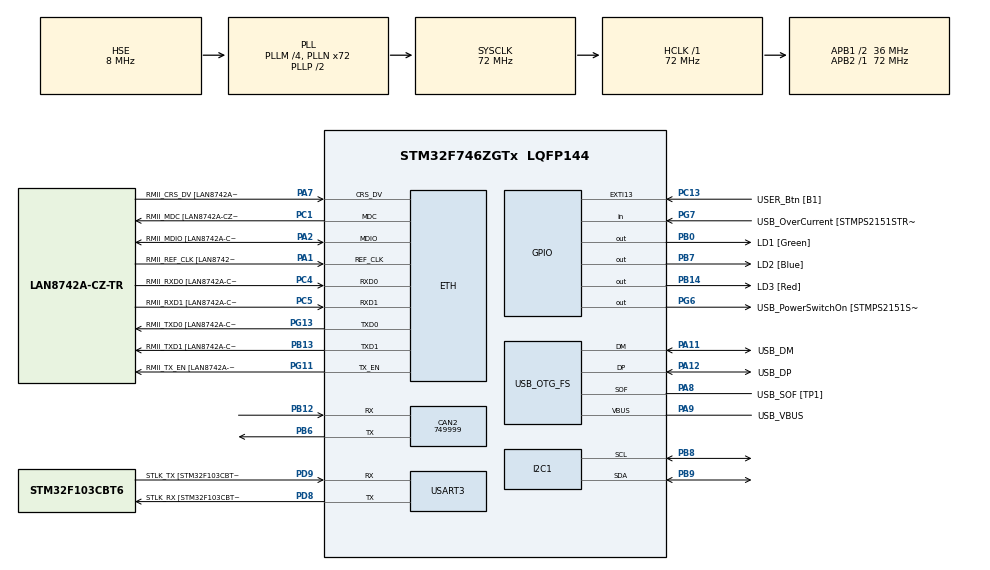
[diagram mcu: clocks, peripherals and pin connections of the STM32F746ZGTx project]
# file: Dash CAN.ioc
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CAN2.CalculateBaudRate=749999
CAN2.CalculateTimeBit=1333
CAN2.CalculateTimeQuantum=444.44444444444446
ETH.MediaInterface=HAL_ETH_RMII_MODE
ETH.PHY_Name=LAN8742A_PHY_ADDRESS
ETH.PHY_Value=0
ETH.PhyAddress=0
FREERTOS.Tasks01=defaultTask,24,256,StartDefaultTask,Default,NULL,Dynamic,NULL,NULL
I2C1.Timing=0x00808CD2
Mcu.Family=STM32F7
Mcu.Name=STM32F746ZGTx
Mcu.Package=LQFP144
NVIC.PriorityGroup=NVIC_PRIORITYGROUP_4
PA1.GPIO_Label=RMII_REF_CLK [LAN8742A-CZ-TR_REFCLK0]
PA1.Mode=RMII
PA1.Signal=ETH_REF_CLK
PA10.GPIO_Label=USB_ID
PA10.Signal=USB_OTG_FS_ID
PA11.GPIO_Label=USB_DM
PA11.Mode=Device_Only
PA11.Signal=USB_OTG_FS_DM
PA12.GPIO_Label=USB_DP
PA12.Mode=Device_Only
PA12.Signal=USB_OTG_FS_DP
PA13.GPIO_Label=TMS
PA13.Mode=Serial_Wire
PA13.Signal=SYS_JTMS-SWDIO
PA14.GPIO_Label=TCK
PA14.Mode=Serial_Wire
PA14.Signal=SYS_JTCK-SWCLK
PA2.GPIO_Label=RMII_MDIO [LAN8742A-CZ-TR_MDIO]
PA2.Mode=RMII
PA2.Signal=ETH_MDIO
PA7.GPIO_Label=RMII_CRS_DV [LAN8742A-CZ-TR_CRS_DV]
PA7.Mode=RMII
PA7.Signal=ETH_CRS_DV
PA8.GPIO_Label=USB_SOF [TP1]
PA8.Mode=Activate_SOF_FS
PA8.Signal=USB_OTG_FS_SOF
PA9.GPIO_Label=USB_VBUS
PA9.Mode=Activate_VBUS
PA9.Signal=USB_OTG_FS_VBUS
PB0.GPIO_Label=LD1 [Green]
PB0.Signal=GPIO_Output
PB12.Mode=CAN_Activate
PB12.Signal=CAN2_RX
PB13.GPIO_Label=RMII_TXD1 [LAN8742A-CZ-TR_TXD1]
PB13.Mode=RMII
PB13.Signal=ETH_TXD1
PB14.GPIO_Label=LD3 [Red]
PB14.Signal=GPIO_Output
PB3.GPIO_Label=SW0
PB3.Signal=SYS_JTDO-SWO
PB6.Mode=CAN_Activate
PB6.Signal=CAN2_TX
PB7.GPIO_Label=LD2 [Blue]
PB7.Signal=GPIO_Output
PB8.Mode=I2C
PB8.Signal=I2C1_SCL
PB9.Mode=I2C
PB9.Signal=I2C1_SDA
PC1.GPIO_Label=RMII_MDC [LAN8742A-CZ-TR_MDC]
PC1.Mode=RMII
PC1.Signal=ETH_MDC
PC13.GPIO_Label=USER_Btn [B1]
PC13.Signal=GPXTI13
PC14/OSC32_IN.Mode=LSE-External-Oscillator
PC14/OSC32_IN.Signal=RCC_OSC32_IN
PC15/OSC32_OUT.Mode=LSE-External-Oscillator
PC15/OSC32_OUT.Signal=RCC_OSC32_OUT
PC4.GPIO_Label=RMII_RXD0 [LAN8742A-CZ-TR_RXD0]
PC4.Mode=RMII
PC4.Signal=ETH_RXD0
PC5.GPIO_Label=RMII_RXD1 [LAN8742A-CZ-TR_RXD1]
PC5.Mode=RMII
PC5.Signal=ETH_RXD1
PD8.GPIO_Label=STLK_RX [STM32F103CBT6_PA3]
PD8.GPIO_PuPd=GPIO_PULLUP
PD8.Mode=Asynchronous
PD8.Signal=USART3_TX
PD9.GPIO_Label=STLK_TX [STM32F103CBT6_PA2]
PD9.GPIO_PuPd=GPIO_PULLUP
PD9.Mode=Asynchronous
PD9.Signal=USART3_RX
PG11.GPIO_Label=RMII_TX_EN [LAN8742A-CZ-TR_TXEN]
PG11.Mode=RMII
PG11.Signal=ETH_TX_EN
PG13.GPIO_Label=RMII_TXD0 [LAN8742A-CZ-TR_TXD0]
PG13.Mode=RMII
PG13.Signal=ETH_TXD0
PG6.GPIO_Label=USB_PowerSwitchOn [STMPS2151STR_EN]
PG6.Signal=GPIO_Output
PG7.GPIO_Label=USB_OverCurrent [STMPS2151STR_FAULT]
PG7.Signal=GPIO_Input
PH0/OSC_IN.GPIO_Label=MCO [STM32F103CBT6_PA8]
PH0/OSC_IN.Mode=HSE-External-Clock-Source
PH0/OSC_IN.Signal=RCC_OSC_IN
PH1/OSC_OUT.Mode=HSE-External-Clock-Source
PH1/OSC_OUT.Signal=RCC_OSC_OUT
ProjectManager.HeapSize=0x200
ProjectManager.StackSize=0x400
ProjectManager.TargetToolchain=STM32CubeIDE
RCC.48MHZClocksFreq_Value=24000000
RCC.AHBFreq_Value=72000000
RCC.APB1CLKDivider=RCC_HCLK_DIV2
RCC.APB1Freq_Value=36000000
RCC.APB1TimFreq_Value=72000000
RCC.APB2Freq_Value=72000000
RCC.APB2TimFreq_Value=72000000
RCC.CortexFreq_Value=72000000
RCC.HCLKFreq_Value=72000000
RCC.HSE_VALUE=8000000
RCC.HSI_VALUE=16000000
RCC.PLLM=4
RCC.PLLMUL=RCC_PLL_MUL9
RCC.PLLN=72
RCC.PLLQ=3
RCC.PRESCALERUSB=RCC_USBCLKSOURCE_PLL_DIV1_5
RCC.SYSCLKFreq_VALUE=72000000
RCC.SYSCLKSource=RCC_SYSCLKSOURCE_PLLCLK
RCC.SYSCLKSourceVirtual=RCC_SYSCLKSOURCE_PLLCLK
RCC.USBFreq_Value=48000000
RCC.VCOOutputFreq_Value=144000000
USART3.VirtualMode-Asynchronous=VM_ASYNC
USB_OTG_FS.VirtualMode=Device_Only
VP_FREERTOS_VS_CMSIS_V2.Mode=CMSIS_V2
board=NUCLEO-F746ZG

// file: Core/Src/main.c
/* USER CODE BEGIN Header */
/**
  ******************************************************************************
  * @file           : main.c
  * @brief          : Main program body
  ******************************************************************************
  * @attention
  *
  * Copyright (c) 2025 STMicroelectronics.
  * All rights reserved.
  *
  * This software is licensed under terms that can be found in the LICENSE file
  * in the root directory of this software component.
  * If no LICENSE file comes with this software, it is provided AS-IS.
  *
  ******************************************************************************
  */
/* USER CODE END Header */
#include "main.h"
#include "string.h"
#include "cmsis_os.h"

#if defined ( __ICCARM__ ) /*!< IAR Compiler */
#pragma location=0x2004c000
ETH_DMADescTypeDef  DMARxDscrTab[ETH_RX_DESC_CNT]; /* Ethernet Rx DMA Descriptors */
#pragma location=0x2004c0a0
ETH_DMADescTypeDef  DMATxDscrTab[ETH_TX_DESC_CNT]; /* Ethernet Tx DMA Descriptors */

#elif defined ( __CC_ARM )  /* MDK ARM Compiler */

__attribute__((at(0x2004c000))) ETH_DMADescTypeDef  DMARxDscrTab[ETH_RX_DESC_CNT]; /* Ethernet Rx DMA Descriptors */
__attribute__((at(0x2004c0a0))) ETH_DMADescTypeDef  DMATxDscrTab[ETH_TX_DESC_CNT]; /* Ethernet Tx DMA Descriptors */

#elif defined ( __GNUC__ ) /* GNU Compiler */

ETH_DMADescTypeDef DMARxDscrTab[ETH_RX_DESC_CNT] __attribute__((section(".RxDecripSection"))); /* Ethernet Rx DMA Descriptors */
ETH_DMADescTypeDef DMATxDscrTab[ETH_TX_DESC_CNT] __attribute__((section(".TxDecripSection")));   /* Ethernet Tx DMA Descriptors */
#endif

ETH_TxPacketConfig TxConfig;

CAN_HandleTypeDef hcan2;

ETH_HandleTypeDef heth;

I2C_HandleTypeDef hi2c1;

UART_HandleTypeDef huart3;

PCD_HandleTypeDef hpcd_USB_OTG_FS;

/* Definitions for defaultTask */
osThreadId_t defaultTaskHandle;
const osThreadAttr_t defaultTask_attributes = {
  .name = "defaultTask",
  .stack_size = 256 * 4,
  .priority = (osPriority_t) osPriorityNormal,
};

void SystemClock_Config(void);
static void MX_GPIO_Init(void);
static void MX_ETH_Init(void);
static void MX_I2C1_Init(void);
static void MX_USART3_UART_Init(void);
static void MX_USB_OTG_FS_PCD_Init(void);
static void MX_CAN2_Init(void);
void StartDefaultTask(void *argument);

int main(void)
{

  /* MCU Configuration--------------------------------------------------------*/

  /* Reset of all peripherals, Initializes the Flash interface and the Systick. */
  HAL_Init();

  /* Configure the system clock */
  SystemClock_Config();

  /* Initialize all configured peripherals */
  MX_GPIO_Init();
  MX_ETH_Init();
  MX_I2C1_Init();
  MX_USART3_UART_Init();
  MX_USB_OTG_FS_PCD_Init();
  MX_CAN2_Init();
  /* USER CODE BEGIN 2 */
  hcan can2;
  const CAN_FilterTypeDef canFilterConfig;
  const CAN_TxHeaderTypeDef canHeaderConfig;
  canFilterConfig.FilterIdHigh = 0xFFFF;
  canFilterConfig.FilterIdLow = 0x0000;
  canFilterConfig.FilterFIFOAssignment = CAN_FILTER_FIFO0;
  canFilterConfig.FilterMode = CAN_FILTERMODE_IDMASK;
  canFilterConfig.FilterScale = CAN_FILTERSCALE_32BIT;
  canFilterConfig.FilterActivation = CAN_FILTER_DISABLE;
  canFilterConfig.FilterBank = 0;
  canFilterConfig.SlaveStartFilterBank = 0;
  canFilterConfig.FilterMaskIdHigh = 0xFFFF;
  canFilterConfig.FilterMaskIdLow = 0xFFFF;

  canHeaderConfig.StdId = 1;
  canHeaderConfig.ExtId = 0;
  canHeaderConfig.IDE = CAN_ID_STD;
  canHeaderConfig.RTR = CAN_RTR_DATA;
  canHeaderConfig.DLC = 8;
  canHeaderConfig.TransmitGlobalTime = DISABLE;

  const uint8_t data = 0xFF;
  const uint32_t mailbox;

  HAL_CAN_Init(&can2);
  HAL_CAN_ConfigFilter(&can2, &canFilterConfig);
  HAL_CAN_Start(&can2);
  HAL_CAN_AddTxMessage(&can2, &canHeaderConfig, data, mailbox);

  /* USER CODE END 2 */

  /* Init scheduler */
  osKernelInitialize();

  /* Create the thread(s) */
  /* creation of defaultTask */
  defaultTaskHandle = osThreadNew(StartDefaultTask, NULL, &defaultTask_attributes);

  /* Start scheduler */
  osKernelStart();

  /* We should never get here as control is now taken by the scheduler */

  /* Infinite loop */
  while (1)
  {

  }
}

void SystemClock_Config(void)
{
  RCC_OscInitTypeDef RCC_OscInitStruct = {0};
  RCC_ClkInitTypeDef RCC_ClkInitStruct = {0};

  /** Configure LSE Drive Capability
  */
  HAL_PWR_EnableBkUpAccess();

  /** Configure the main internal regulator output voltage
  */
  __HAL_RCC_PWR_CLK_ENABLE();
  __HAL_PWR_VOLTAGESCALING_CONFIG(PWR_REGULATOR_VOLTAGE_SCALE3);

  /** Initializes the RCC Oscillators according to the specified parameters
  * in the RCC_OscInitTypeDef structure.
  */
  RCC_OscInitStruct.OscillatorType = RCC_OSCILLATORTYPE_HSE;
  RCC_OscInitStruct.HSEState = RCC_HSE_BYPASS;
  RCC_OscInitStruct.PLL.PLLState = RCC_PLL_ON;
  RCC_OscInitStruct.PLL.PLLSource = RCC_PLLSOURCE_HSE;
  RCC_OscInitStruct.PLL.PLLM = 4;
  RCC_OscInitStruct.PLL.PLLN = 72;
  RCC_OscInitStruct.PLL.PLLP = RCC_PLLP_DIV2;
  RCC_OscInitStruct.PLL.PLLQ = 3;
  if (HAL_RCC_OscConfig(&RCC_OscInitStruct) != HAL_OK)
  {
    Error_Handler();
  }

  /** Initializes the CPU, AHB and APB buses clocks
  */
  RCC_ClkInitStruct.ClockType = RCC_CLOCKTYPE_HCLK|RCC_CLOCKTYPE_SYSCLK
                              |RCC_CLOCKTYPE_PCLK1|RCC_CLOCKTYPE_PCLK2;
  RCC_ClkInitStruct.SYSCLKSource = RCC_SYSCLKSOURCE_PLLCLK;
  RCC_ClkInitStruct.AHBCLKDivider = RCC_SYSCLK_DIV1;
  RCC_ClkInitStruct.APB1CLKDivider = RCC_HCLK_DIV2;
  RCC_ClkInitStruct.APB2CLKDivider = RCC_HCLK_DIV1;

  if (HAL_RCC_ClockConfig(&RCC_ClkInitStruct, FLASH_LATENCY_2) != HAL_OK)
  {
    Error_Handler();
  }
}

static void MX_CAN2_Init(void)
{

  hcan2.Instance = CAN2;
  hcan2.Init.Prescaler = 16;
  hcan2.Init.Mode = CAN_MODE_NORMAL;
  hcan2.Init.SyncJumpWidth = CAN_SJW_1TQ;
  hcan2.Init.TimeSeg1 = CAN_BS1_1TQ;
  hcan2.Init.TimeSeg2 = CAN_BS2_1TQ;
  hcan2.Init.TimeTriggeredMode = DISABLE;
  hcan2.Init.AutoBusOff = DISABLE;
  hcan2.Init.AutoWakeUp = DISABLE;
  hcan2.Init.AutoRetransmission = DISABLE;
  hcan2.Init.ReceiveFifoLocked = DISABLE;
  hcan2.Init.TransmitFifoPriority = DISABLE;
  if (HAL_CAN_Init(&hcan2) != HAL_OK)
  {
    Error_Handler();
  }

}

static void MX_ETH_Init(void)
{

   static uint8_t MACAddr[6];

  heth.Instance = ETH;
  MACAddr[0] = 0x00;
  MACAddr[1] = 0x80;
  MACAddr[2] = 0xE1;
  MACAddr[3] = 0x00;
  MACAddr[4] = 0x00;
  MACAddr[5] = 0x00;
  heth.Init.MACAddr = &MACAddr[0];
  heth.Init.MediaInterface = HAL_ETH_RMII_MODE;
  heth.Init.TxDesc = DMATxDscrTab;
  heth.Init.RxDesc = DMARxDscrTab;
  heth.Init.RxBuffLen = 1524;

  if (HAL_ETH_Init(&heth) != HAL_OK)
  {
    Error_Handler();
  }

  memset(&TxConfig, 0 , sizeof(ETH_TxPacketConfig));
  TxConfig.Attributes = ETH_TX_PACKETS_FEATURES_CSUM | ETH_TX_PACKETS_FEATURES_CRCPAD;
  TxConfig.ChecksumCtrl = ETH_CHECKSUM_IPHDR_PAYLOAD_INSERT_PHDR_CALC;
  TxConfig.CRCPadCtrl = ETH_CRC_PAD_INSERT;

}

static void MX_I2C1_Init(void)
{

  hi2c1.Instance = I2C1;
  hi2c1.Init.Timing = 0x00808CD2;
  hi2c1.Init.OwnAddress1 = 0;
  hi2c1.Init.AddressingMode = I2C_ADDRESSINGMODE_7BIT;
  hi2c1.Init.DualAddressMode = I2C_DUALADDRESS_DISABLE;
  hi2c1.Init.OwnAddress2 = 0;
  hi2c1.Init.OwnAddress2Masks = I2C_OA2_NOMASK;
  hi2c1.Init.GeneralCallMode = I2C_GENERALCALL_DISABLE;
  hi2c1.Init.NoStretchMode = I2C_NOSTRETCH_DISABLE;
  if (HAL_I2C_Init(&hi2c1) != HAL_OK)
  {
    Error_Handler();
  }

  /** Configure Analogue filter
  */
  if (HAL_I2CEx_ConfigAnalogFilter(&hi2c1, I2C_ANALOGFILTER_ENABLE) != HAL_OK)
  {
    Error_Handler();
  }

  /** Configure Digital filter
  */
  if (HAL_I2CEx_ConfigDigitalFilter(&hi2c1, 0) != HAL_OK)
  {
    Error_Handler();
  }

}

static void MX_USART3_UART_Init(void)
{

  huart3.Instance = USART3;
  huart3.Init.BaudRate = 115200;
  huart3.Init.WordLength = UART_WORDLENGTH_8B;
  huart3.Init.StopBits = UART_STOPBITS_1;
  huart3.Init.Parity = UART_PARITY_NONE;
  huart3.Init.Mode = UART_MODE_TX_RX;
  huart3.Init.HwFlowCtl = UART_HWCONTROL_NONE;
  huart3.Init.OverSampling = UART_OVERSAMPLING_16;
  huart3.Init.OneBitSampling = UART_ONE_BIT_SAMPLE_DISABLE;
  huart3.AdvancedInit.AdvFeatureInit = UART_ADVFEATURE_NO_INIT;
  if (HAL_UART_Init(&huart3) != HAL_OK)
  {
    Error_Handler();
  }

}

static void MX_USB_OTG_FS_PCD_Init(void)
{

  hpcd_USB_OTG_FS.Instance = USB_OTG_FS;
  hpcd_USB_OTG_FS.Init.dev_endpoints = 6;
  hpcd_USB_OTG_FS.Init.speed = PCD_SPEED_FULL;
  hpcd_USB_OTG_FS.Init.dma_enable = DISABLE;
  hpcd_USB_OTG_FS.Init.phy_itface = PCD_PHY_EMBEDDED;
  hpcd_USB_OTG_FS.Init.Sof_enable = ENABLE;
  hpcd_USB_OTG_FS.Init.low_power_enable = DISABLE;
  hpcd_USB_OTG_FS.Init.lpm_enable = DISABLE;
  hpcd_USB_OTG_FS.Init.vbus_sensing_enable = ENABLE;
  hpcd_USB_OTG_FS.Init.use_dedicated_ep1 = DISABLE;
  if (HAL_PCD_Init(&hpcd_USB_OTG_FS) != HAL_OK)
  {
    Error_Handler();
  }

}

static void MX_GPIO_Init(void)
{
  GPIO_InitTypeDef GPIO_InitStruct = {0};

  /* GPIO Ports Clock Enable */
  __HAL_RCC_GPIOC_CLK_ENABLE();
  __HAL_RCC_GPIOH_CLK_ENABLE();
  __HAL_RCC_GPIOA_CLK_ENABLE();
  __HAL_RCC_GPIOB_CLK_ENABLE();
  __HAL_RCC_GPIOD_CLK_ENABLE();
  __HAL_RCC_GPIOG_CLK_ENABLE();

  /*Configure GPIO pin Output Level */
  HAL_GPIO_WritePin(GPIOB, LD1_Pin|LD3_Pin|LD2_Pin, GPIO_PIN_RESET);

  /*Configure GPIO pin Output Level */
  HAL_GPIO_WritePin(USB_PowerSwitchOn_GPIO_Port, USB_PowerSwitchOn_Pin, GPIO_PIN_RESET);

  /*Configure GPIO pin : USER_Btn_Pin */
  GPIO_InitStruct.Pin = USER_Btn_Pin;
  GPIO_InitStruct.Mode = GPIO_MODE_IT_RISING;
  GPIO_InitStruct.Pull = GPIO_NOPULL;
  HAL_GPIO_Init(USER_Btn_GPIO_Port, &GPIO_InitStruct);

  /*Configure GPIO pins : LD1_Pin LD3_Pin LD2_Pin */
  GPIO_InitStruct.Pin = LD1_Pin|LD3_Pin|LD2_Pin;
  GPIO_InitStruct.Mode = GPIO_MODE_OUTPUT_PP;
  GPIO_InitStruct.Pull = GPIO_NOPULL;
  GPIO_InitStruct.Speed = GPIO_SPEED_FREQ_LOW;
  HAL_GPIO_Init(GPIOB, &GPIO_InitStruct);

  /*Configure GPIO pin : USB_PowerSwitchOn_Pin */
  GPIO_InitStruct.Pin = USB_PowerSwitchOn_Pin;
  GPIO_InitStruct.Mode = GPIO_MODE_OUTPUT_PP;
  GPIO_InitStruct.Pull = GPIO_NOPULL;
  GPIO_InitStruct.Speed = GPIO_SPEED_FREQ_LOW;
  HAL_GPIO_Init(USB_PowerSwitchOn_GPIO_Port, &GPIO_InitStruct);

  /*Configure GPIO pin : USB_OverCurrent_Pin */
  GPIO_InitStruct.Pin = USB_OverCurrent_Pin;
  GPIO_InitStruct.Mode = GPIO_MODE_INPUT;
  GPIO_InitStruct.Pull = GPIO_NOPULL;
  HAL_GPIO_Init(USB_OverCurrent_GPIO_Port, &GPIO_InitStruct);

}

void StartDefaultTask(void *argument)
{
  for(;;)
  {
    osDelay(1);
  }
}

void Error_Handler(void)
{
  __disable_irq();
  while (1)
  {
  }
}
